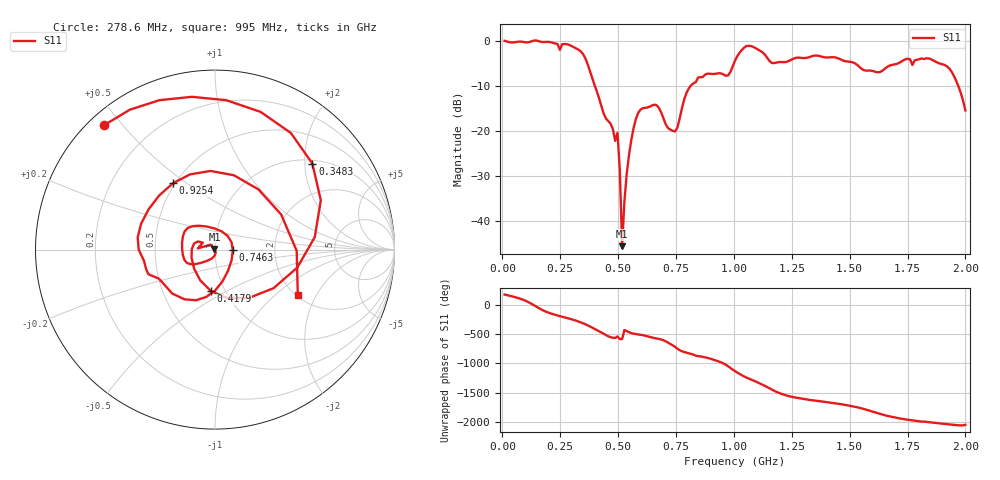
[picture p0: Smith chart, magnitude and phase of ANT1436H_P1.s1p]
!Created with skrf (http://scikit-rf.org).
# Hz S RI R 50.0
!freq ReS11 ImS11
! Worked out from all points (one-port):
!   201 points, 10 MHz to 2 GHz, reference 50 ohm
!   lowest |S11| = -45.6 dB at 517.5 MHz (marker M1), VSWR 1.01, Z = 49.7 + j0.402 ohm
!   |S11| at or under -10 dB: 400.4 MHz to 812.4 MHz (412 MHz wide, 67.9 % of centre); 1.97 GHz to end of sweep
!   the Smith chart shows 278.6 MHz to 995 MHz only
!   S11 on the Smith chart (normalised r, x): 278.6 MHz: 0.04, +0.45; 348.3 MHz: 1.08, +2.18; 417.9 MHz: 0.86, -0.42; 746.3 MHz: 1.22, -0.01; 925.4 MHz: 0.49, +0.45; 995 MHz: 2.04, -1.43
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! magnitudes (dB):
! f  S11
! 10 MHz  0.1
! 258.8 MHz  -0.6
! 278.6 MHz  -0.6
! 348.3 MHz  -2.8
! 417.9 MHz  -12.7
! 487.6 MHz  -22.2
! 497.6 MHz  -20.4
! 507.5 MHz  -28.6
! 517.5 MHz  -45.6
! 527.4 MHz  -35.6
! 537.4 MHz  -29.5
! 557.2 MHz  -21.9
! 587.1 MHz  -15.9
! 666.7 MHz  -14.2
! 746.3 MHz  -20.1
! 756.2 MHz  -19.2
! 806 MHz  -10.4
! 925.4 MHz  -7.2
! 995 MHz  -5.6
! 1.005 GHz  -4.3
! 1.055 GHz  -1.0
! 1.164 GHz  -4.8
! 1.254 GHz  -3.9
! 1.502 GHz  -4.6
! 1.622 GHz  -6.9
! 1.751 GHz  -3.9
! 1.92 GHz  -5.6
! 2 GHz  -15.4
